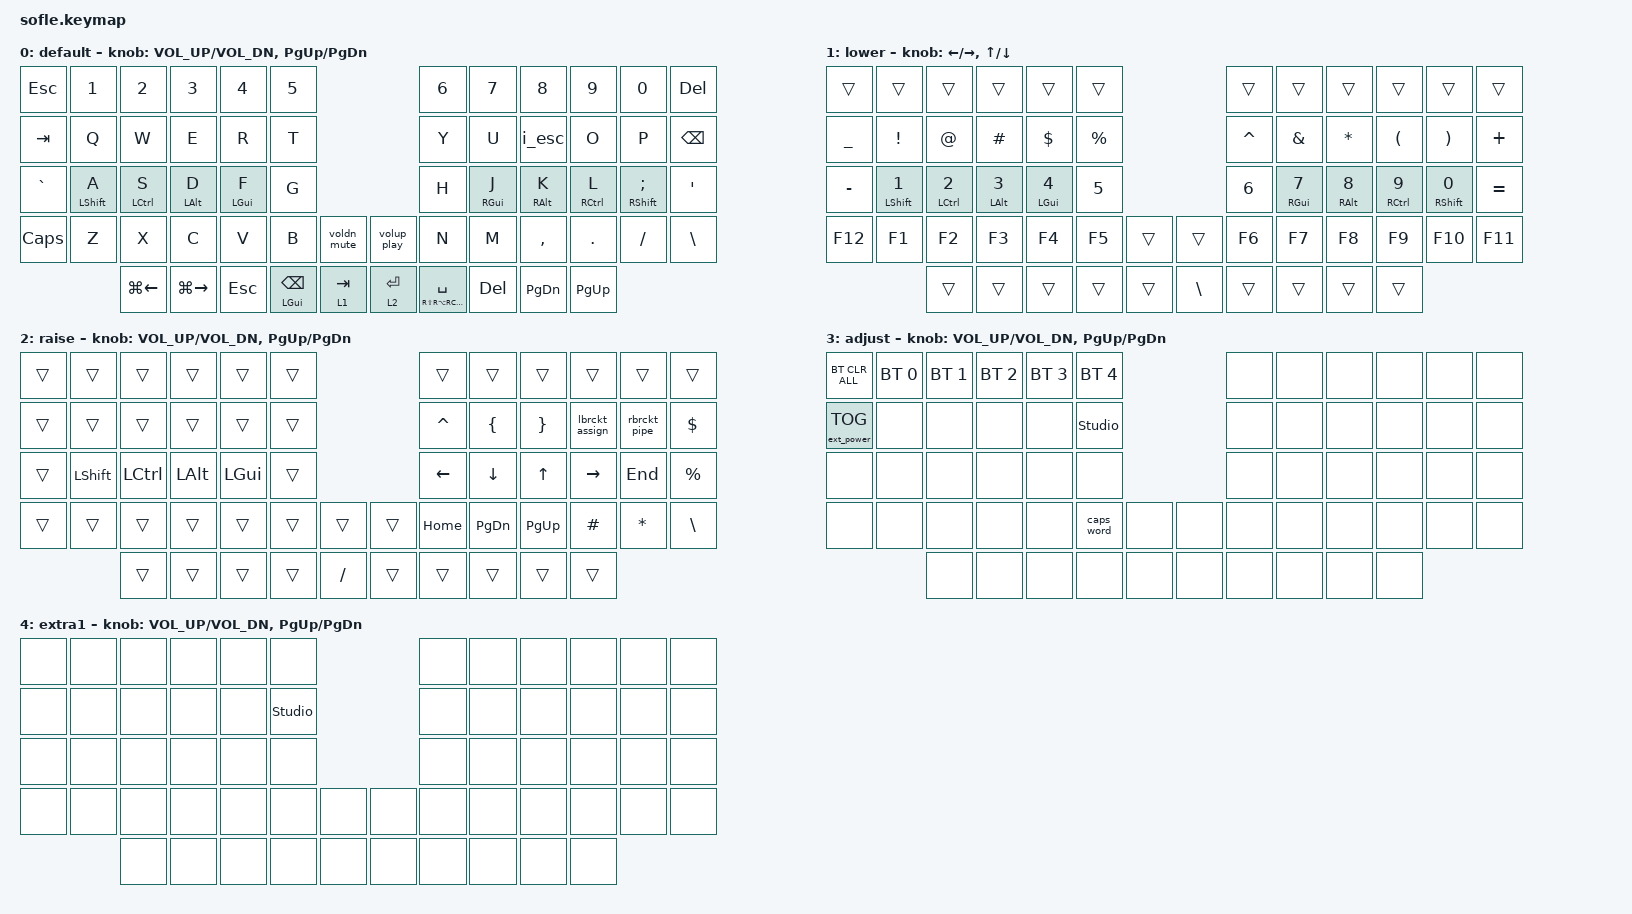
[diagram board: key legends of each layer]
/*
 * Copyright (c) 2020 The ZMK Contributors
 *
 * SPDX-License-Identifier: MIT
 */

#include <behaviors.dtsi>
#include <dt-bindings/zmk/bt.h>
#include <dt-bindings/zmk/ext_power.h>
#include <dt-bindings/zmk/keys.h>

#define BASE 0
#define LOWER 1
#define RAISE 2
#define ADJUST 3
#define extra_layer 4

&mt {
    tapping-term-ms = <280>;
    quick-tap-ms = <175>;
    require-prior-idle-ms = <150>;
    flavor = "balanced";
    hold-trigger-on-release;
};

/ {
    // Activate ADJUST layer by pressing raise and lower

    conditional_layers {
        compatible = "zmk,conditional-layers";

        adjust_layer {
            if-layers = <LOWER RAISE>;
            then-layer = <ADJUST>;
        };
    };

    combos { compatible = "zmk,combos"; };

    behaviors {
        caps: caps {
            compatible = "zmk,behavior-caps-word";
            label = "CAPS";
            #binding-cells = <0>;
            continue-list = <POUND MINUS BACKSPACE UNDERSCORE>;
        };

        voldn_mute: voldn_mute {
            compatible = "zmk,behavior-tap-dance";
            label = "VOLDN_MUTE";
            #binding-cells = <0>;
            bindings = <&kp C_VOLUME_DOWN>, <&kp C_MUTE>;

            tapping-term-ms = <250>;
        };

        volup_play: volup_play {
            compatible = "zmk,behavior-tap-dance";
            label = "VOLUP_PLAY";
            #binding-cells = <0>;
            bindings = <&kp C_VOLUME_UP>, <&kp C_PLAY_PAUSE>;

            tapping-term-ms = <250>;
        };

        lbrckt_assign: lbrckt_assign {
            compatible = "zmk,behavior-tap-dance";
            label = "LBRCKT_ASSIGN";
            #binding-cells = <0>;
            bindings = <&kp LEFT_BRACKET>, <&assign>;

            tapping-term-ms = <250>;
        };

        rbrckt_pipe: rbrckt_pipe {
            compatible = "zmk,behavior-tap-dance";
            label = "RBRCKT_PIPE";
            #binding-cells = <0>;
            bindings = <&kp RIGHT_BRACKET>, <&pipe>;

            tapping-term-ms = <250>;
        };

        i_esc: i_esc {
            compatible = "zmk,behavior-tap-dance";
            label = "I_ESC";
            #binding-cells = <0>;
            bindings = <&kp I>, <&kp ESCAPE>;

            tapping-term-ms = <250>;
        };
    };

    macros {
        assign: assign {
            compatible = "zmk,behavior-macro";
            #binding-cells = <0>;
            bindings = <&kp SPACE &kp LT &kp MINUS &kp SPACE>;
            label = "ASSIGN";
        };

        pipe: pipe {
            compatible = "zmk,behavior-macro";
            #binding-cells = <0>;
            bindings = <&kp SPACE &kp PIPE &kp GT &kp SPACE>;
            label = "PIPE";
        };
    };

    keymap {
        compatible = "zmk,keymap";

        default_layer {
            display-name = "default";

            // ------------------------------------------------------------------------------------------------------------
            // |   `   |  1  |  2  |  3   |  4   |  5   |                   |  6   |  7    |  8    |  9   |   0   |       |
            // |  ESC  |  Q  |  W  |  E   |  R   |  T   |                   |  Y   |  U    |  I    |  O   |   P   | BKSPC |
            // |  TAB  |  A  |  S  |  D   |  F   |  G   |                   |  H   |  J    |  K    |  L   |   ;   |   '   |
            // | SHIFT |  Z  |  X  |  C   |  V   |  B   |  MUTE  |  |       |  N   |  M    |  ,    |  .   |   /   | SHIFT |
            //               | GUI | ALT  | CTRL | LOWER|  ENTER |  | SPACE | RAISE| CTRL  | ALT   | GUI  |

            bindings = <
&kp ESCAPE    &kp N1            &kp N2              &kp N3               &kp N4          &kp N5                                              &kp N6                           &kp N7           &kp N8           &kp N9               &kp N0                &kp DELETE
&kp TAB       &kp Q             &kp W               &kp E                &kp R           &kp T                                               &kp Y                            &kp U            &i_esc           &kp O                &kp P                 &kp BACKSPACE
&kp GRAVE     &mt LEFT_SHIFT A  &mt LEFT_CONTROL S  &mt LEFT_ALT D       &mt LEFT_GUI F  &kp G                                               &kp H                            &mt RIGHT_GUI J  &mt RIGHT_ALT K  &mt RIGHT_CONTROL L  &mt RIGHT_SHIFT SEMI  &kp SQT
&kp CAPSLOCK  &kp Z             &kp X               &kp C                &kp V           &kp B                   &voldn_mute    &volup_play  &kp N                            &kp M            &kp COMMA        &kp DOT              &kp FSLH              &kp BACKSLASH
                                &kp LG(LEFT_ARROW)  &kp LG(RIGHT_ARROW)  &kp ESCAPE      &mt LEFT_GUI BACKSPACE  &lt 1 TAB      &lt 2 ENTER  &mt RS(RA(RC(RIGHT_GUI))) SPACE  &kp DELETE       &kp PAGE_DOWN    &kp PAGE_UP
            >;

            sensor-bindings = <&inc_dec_kp C_VOL_UP C_VOL_DN &inc_dec_kp PG_UP PG_DN>;
        };

        lower_layer {
            display-name = "lower";

            // TODO: Some binds are waiting for shifted keycode support.
            // ------------------------------------------------------------------------------------------------------------
            // |       |  F1 |  F2 |  F3  |  F4  |  F5  |                   |  F6  |  F7   |  F8   |  F9  |  F10  |  F11  |
            // |   `   |  1  |  2  |  3   |  4   |  5   |                   |  6   |  7    |  8    |  9   |   0   |  F12  |
            // |       |  !  |  @  |  #   |  $   |  %   |                   |  ^   |  &    |  *    |  (   |   )   |   |   |
            // |       |  =  |  -  |  +   |  {   |  }   |        |  |       |  [   |  ]    |  ;    |  :   |   \   |       |
            //               |     |      |      |      |        |  |       |      |       |       |      |

            bindings = <
&trans          &trans                   &trans                     &trans                 &trans                 &trans                                 &trans        &trans                  &trans                  &trans                      &trans                    &trans
&kp UNDERSCORE  &kp EXCLAMATION          &kp AT_SIGN                &kp HASH               &kp DOLLAR             &kp PERCENT                            &kp CARET     &kp AMPERSAND           &kp ASTERISK            &kp LEFT_PARENTHESIS        &kp RIGHT_PARENTHESIS     &kp PLUS
&kp MINUS       &mt LEFT_SHIFT NUMBER_1  &mt LEFT_CONTROL NUMBER_2  &mt LEFT_ALT NUMBER_3  &mt LEFT_GUI NUMBER_4  &kp NUMBER_5                           &kp NUMBER_6  &mt RIGHT_GUI NUMBER_7  &mt RIGHT_ALT NUMBER_8  &mt RIGHT_CONTROL NUMBER_9  &mt RIGHT_SHIFT NUMBER_0  &kp EQUAL
&kp F12         &kp F1                   &kp F2                     &kp F3                 &kp F4                 &kp F5        &trans    &trans         &kp F6        &kp F7                  &kp F8                  &kp F9                      &kp F10                   &kp F11
                                         &trans                     &trans                 &trans                 &trans        &trans    &kp BACKSLASH  &trans        &trans                  &trans                  &trans
            >;

            sensor-bindings =
                <&inc_dec_kp LEFT_ARROW RIGHT_ARROW>,
                <&inc_dec_kp UP_ARROW DOWN_ARROW>;
        };

        raise_layer {
            display-name = "raise";

            // ------------------------------------------------------------------------------------------------------------
            // | BTCLR | BT1  | BT2  |  BT3  |  BT4  |  BT5 |                |      |      |       |      |       |       |
            // |       | INS  | PSCR | GUI   |       |      |                | PGUP |      |   ^   |      |       |       |
            // |       | ALT  | CTRL | SHIFT |       | CAPS |                | PGDN |   <- |   v   |  ->  |  DEL  | BKSPC |
            // |       | UNDO | CUT  | COPY  | PASTE |      |      |  |      |      |      |       |      |       |       |
            //                |      |       |       |      |      |  |      |      |      |       |      |

            bindings = <
&trans  &trans          &trans            &trans        &trans        &trans                       &trans     &trans          &trans           &trans          &trans        &trans
&trans  &trans          &trans            &trans        &trans        &trans                       &kp CARET  &kp LEFT_BRACE  &kp RIGHT_BRACE  &lbrckt_assign  &rbrckt_pipe  &kp DOLLAR
&trans  &kp LEFT_SHIFT  &kp LEFT_CONTROL  &kp LEFT_ALT  &kp LEFT_GUI  &trans                       &kp LEFT   &kp DOWN        &kp UP           &kp RIGHT       &kp END       &kp PERCENT
&trans  &trans          &trans            &trans        &trans        &trans  &trans       &trans  &kp HOME   &kp PAGE_DOWN   &kp PAGE_UP      &kp HASH        &kp ASTERISK  &kp BACKSLASH
                        &trans            &trans        &trans        &trans  &kp SLASH    &trans  &trans     &trans          &trans           &trans
            >;

            sensor-bindings = <&inc_dec_kp C_VOL_UP C_VOL_DN &inc_dec_kp PG_UP PG_DN>;
        };

        adjust_layer {
            // ----------------------------------------------------------------------------------------------------------------------------
            // | BTCLR  |  BT1    |  BT2    |   BT3   |   BT4   |   BT5   |                  |      |      |       |      |       |       |
            // | EXTPWR | RGB_HUD | RGB_HUI | RGB_SAD | RGB_SAI | RGB_EFF |                  |      |      |       |      |       |       |
            // |        | RGB_BRD | RGB_BRI |         |         |         |                  |      |      |       |      |       |       |
            // |        |         |         |         |         |         | RGB_TOG | |      |      |      |       |      |       |       |
            //                    |         |         |         |         |         | |      |      |      |       |      |

            display-name = "adjust";
            bindings = <
&bt BT_CLR_ALL     &bt BT_SEL 0  &bt BT_SEL 1  &bt BT_SEL 2  &bt BT_SEL 3  &bt BT_SEL 4                    &none  &none  &none  &none  &none  &none
&ext_power EP_TOG  &none         &none         &none         &none         &studio_unlock                  &none  &none  &none  &none  &none  &none
&none              &none         &none         &none         &none         &none                           &none  &none  &none  &none  &none  &none
&none              &none         &none         &none         &none         &caps_word      &none    &none  &none  &none  &none  &none  &none  &none
                                 &none         &none         &none         &none           &none    &none  &none  &none  &none  &none
            >;

            sensor-bindings = <&inc_dec_kp C_VOL_UP C_VOL_DN &inc_dec_kp PG_UP PG_DN>;
        };

        extra_layer {
            // ----------------------------------------------------------------------------------------------------------------------------
            // | BTCLR  |  BT1    |  BT2    |   BT3   |   BT4   |   BT5   |                  |      |      |       |      |       |       |
            // | EXTPWR | RGB_HUD | RGB_HUI | RGB_SAD | RGB_SAI | RGB_EFF |                  |      |      |       |      |       |       |
            // |        | RGB_BRD | RGB_BRI |         |         |         |                  |      |      |       |      |       |       |
            // |        |         |         |         |         |         | RGB_TOG | |      |      |      |       |      |       |       |
            //                    |         |         |         |         |         | |      |      |      |       |      |

            display-name = "extra1";
            bindings = <
&none  &none  &none  &none  &none  &none                           &none  &none  &none  &none  &none  &none
&none  &none  &none  &none  &none  &studio_unlock                  &none  &none  &none  &none  &none  &none
&none  &none  &none  &none  &none  &none                           &none  &none  &none  &none  &none  &none
&none  &none  &none  &none  &none  &none           &none    &none  &none  &none  &none  &none  &none  &none
              &none  &none  &none  &none           &none    &none  &none  &none  &none  &none
            >;

            sensor-bindings = <&inc_dec_kp C_VOL_UP C_VOL_DN &inc_dec_kp PG_UP PG_DN>;
        };
    };
};
